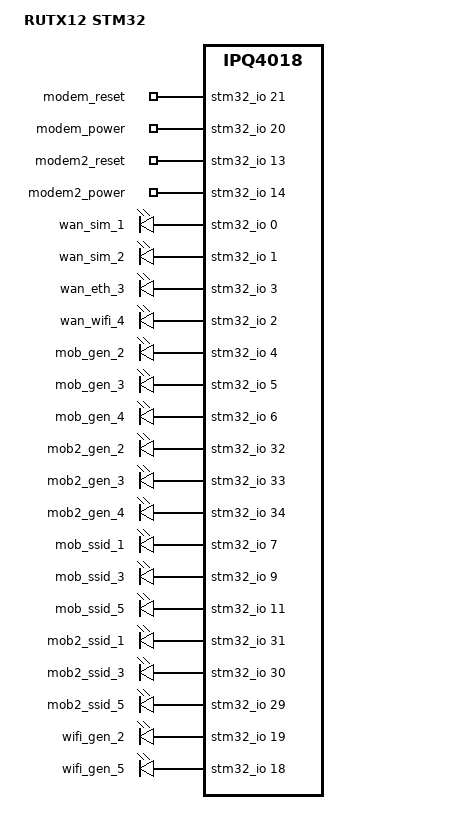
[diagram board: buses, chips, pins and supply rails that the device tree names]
#include "qcom-ipq4018-rutx-STM32.dtsi"

/ {
	model = "RUTX12 STM32";

	soc {
		gpio-export {
			compatible = "gpio-export";
			#size-cells = <0>;

			gpio_modem_reset {
				gpio-export,name = "modem_reset";
				gpio-export,output = <0>;
				gpios = <&stm32_io 21 GPIO_ACTIVE_HIGH>;
			};

			gpio_modem_power {
				gpio-export,name = "modem_power";
				gpio-export,output = <0>;
				gpios = <&stm32_io 20 GPIO_ACTIVE_HIGH>;
			};

			gpio_modem2_reset {
				gpio-export,name = "modem2_reset";
				gpio-export,output = <0>;
				gpios = <&stm32_io 13 GPIO_ACTIVE_HIGH>;
			};

			gpio_modem2_power {
				gpio-export,name = "modem2_power";
				gpio-export,output = <0>;
				gpios = <&stm32_io 14 GPIO_ACTIVE_HIGH>;
			};
		};

		leds {
			compatible = "gpio-leds";

			led_wan_sim1 {
				label = "wan_sim_1";
				gpios = <&stm32_io 0 GPIO_ACTIVE_HIGH>;
			};

			led_wan_sim2 {
				label = "wan_sim_2";
				gpios = <&stm32_io 1 GPIO_ACTIVE_HIGH>;
			};

			led_wan_eth {
				label = "wan_eth_3";
				gpios = <&stm32_io 3 GPIO_ACTIVE_HIGH>;
			};

			led_wan_wifi {
				label = "wan_wifi_4";
				gpios = <&stm32_io 2 GPIO_ACTIVE_HIGH>;
			};

			led_gen_2 {
				label = "mob_gen_2";
				gpios = <&stm32_io 4 GPIO_ACTIVE_HIGH>;
			};

			led_gen_3 {
				label = "mob_gen_3";
				gpios = <&stm32_io 5 GPIO_ACTIVE_HIGH>;
			};

			led_gen_4 {
				label = "mob_gen_4";
				gpios = <&stm32_io 6 GPIO_ACTIVE_HIGH>;
			};

			led2_gen_2 {
				label = "mob2_gen_2";
				gpios = <&stm32_io 32 GPIO_ACTIVE_HIGH>;
			};

			led2_gen_3 {
				label = "mob2_gen_3";
				gpios = <&stm32_io 33 GPIO_ACTIVE_HIGH>;
			};

			led2_gen_4 {
				label = "mob2_gen_4";
				gpios = <&stm32_io 34 GPIO_ACTIVE_HIGH>;
			};

			led_ssid_1 {
				label = "mob_ssid_1";
				gpios = <&stm32_io 7 GPIO_ACTIVE_HIGH>;
				linux,default-trigger = "timer";
			};

			led_ssid_3 {
				label = "mob_ssid_3";
				gpios = <&stm32_io 9 GPIO_ACTIVE_HIGH>;
				linux,default-trigger = "timer";
			};

			led_ssid_5 {
				label = "mob_ssid_5";
				gpios = <&stm32_io 11 GPIO_ACTIVE_HIGH>;
				linux,default-trigger = "timer";
			};

			led2_ssid_1 {
				label = "mob2_ssid_1";
				gpios = <&stm32_io 31 GPIO_ACTIVE_HIGH>;
				linux,default-trigger = "timer";
			};

			led2_ssid_3 {
				label = "mob2_ssid_3";
				gpios = <&stm32_io 30 GPIO_ACTIVE_HIGH>;
				linux,default-trigger = "timer";
			};

			led2_ssid_5 {
				label = "mob2_ssid_5";
				gpios = <&stm32_io 29 GPIO_ACTIVE_HIGH>;
				linux,default-trigger = "timer";
			};

			led_wifi_24 {
				label = "wifi_gen_2";
				gpios = <&stm32_io 19 GPIO_ACTIVE_HIGH>;
			};

			led_wifi_50 {
				label = "wifi_gen_5";
				gpios = <&stm32_io 18 GPIO_ACTIVE_HIGH>;
			};
		};
	};

	tlt_gpios { // Modify according to wiki page "DTS syntax with Libgpiod changes"
		gpiochip_info {
			hw_0 {
				hwver = <0>;
				gpiochip_count = <2>;

				gpiochip_0 = <100>; // Built-in
				gpiochip_1 = <37>;  // STM32 expander
			};
		};

		ioman {
			GPIO_123 {
				compatible_versions = <0 3>;
				line_name = "GPIO_OUT_1";
			};
			GPIO_124 {
				compatible_versions = <0 3>;
				line_name = "GPIO_IN_1";
				active_low;
			};
		};

		misc {
			GPIO_120 {
				compatible_versions = <0 3>;
				line_name = "GPIO_MODEM_POWER_1";
			};
			GPIO_114 {
				compatible_versions = <0 3>;
				line_name = "GPIO_MODEM_POWER_2";
			};
			GPIO_121 {
				compatible_versions = <0 3>;
				line_name = "GPIO_MODEM_RESET_1";
			};
			GPIO_113 {
				compatible_versions = <0 3>;
				line_name = "GPIO_MODEM_RESET_2";
			};
		};
	};
};

&mnfinfo {
	simpin3 {
		reg = <&config_rw 0x20 0x8>;
		type = "digit";
		default = "";
		sec;
	};

	simpin4 {
		reg = <&config_rw 0x30 0x8>;
		type = "digit";
		default = "";
		sec;
	};

	sim_cfg {
		default = "0210000_0000000_0110000_0000000";
	};
};
